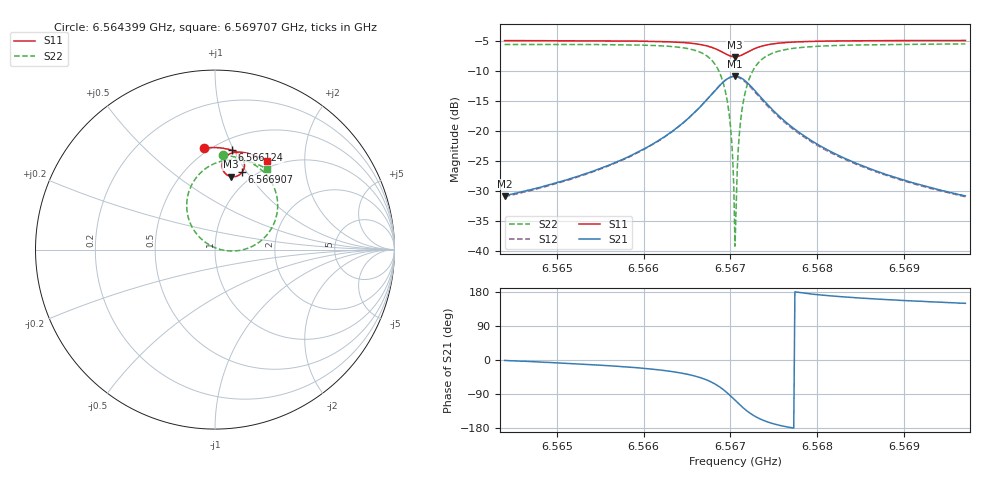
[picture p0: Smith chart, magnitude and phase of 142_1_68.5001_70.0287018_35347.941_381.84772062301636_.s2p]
#  HZ  S  RI  R  50.00
! Rohde & Schwarz Vector Network Analyzer
! Rohde-Schwarz,ZNB20-2Port,1311601062101988,3.16
! Created: UTC 3/20/2024, 4:54:54 PM
! freq[Hz]  re:S11  im:S11  re:S21  im:S21  re:S12  im:S12  re:S22  im:S22
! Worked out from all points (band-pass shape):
!   401 points, 6.564399 GHz to 6.569707 GHz, reference 50 ohm
!   highest |S21| = -10.83 dB at 6.567053 GHz (marker M1); lowest = -30.8 dB at 6.564399 GHz (marker M2)
!   |S21| within 3 dB of the highest: 6.566787 GHz to 6.567318 GHz (531.2 kHz wide, 0.00809 % of centre)
!   lowest |S11| = -7.6 dB at 6.567053 GHz (marker M3), VSWR 2.43, Z = 41.4 + j40.8 ohm
!   |S11| at or under -10 dB: nowhere
!   |S22| runs from -39.3 to -5.4 dB; largest |S21 - S12| = 0.014
!   S11 on the Smith chart (normalised r, x): 6.564399 GHz: 0.47, +0.79; 6.566124 GHz: 0.61, +0.98; 6.566907 GHz: 0.87, +0.95; 6.569707 GHz: 0.90, +1.32
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6.5643991e9  -0.0591 0.5663  0.0287 -0.000552  0.0282 -0.00103  0.0425 0.5266
6.5652882e9  0.0141 0.5679  0.0423 -0.0082  0.0414 -0.00869  0.1278 0.5123
6.5661243e9  0.0931 0.5533  0.072 -0.0332  0.0709 -0.034  0.2398 0.4592
6.5661773e9  0.0988 0.5512  0.0751 -0.0368  0.074 -0.0376  0.2492 0.452
6.5666949e9  0.1593 0.4966  0.1108 -0.1311  0.1079 -0.1338  0.3486 0.2683
6.5668143e9  0.1639 0.4631  0.0998 -0.1895  0.0947 -0.1931  0.3332 0.1566
6.5669072e9  0.1513 0.4308  0.0604 -0.2449  0.0517 -0.2479  0.2612 0.0535
6.566947e9  0.1387 0.4182  0.0305 -0.2655  0.02 -0.267  0.2057 0.017
6.5669868e9  0.1217 0.4091  -0.00734 -0.2787  -0.0194 -0.2781  0.1363 -0.00481
6.5670134e9  0.1084 0.4061  -0.0357 -0.2821  -0.0482 -0.2792  0.0849 -0.00767
6.5670266e9  0.1015 0.4057  -0.0504 -0.2816  -0.0629 -0.2776  0.059 -0.0053
6.5670399e9  0.0945 0.4059  -0.0649 -0.2797  -0.0774 -0.2745  0.0331 -0.000286
6.5670532e9  0.0876 0.4073  -0.0792 -0.2762  -0.0915 -0.2701  0.00794 0.00747
6.5670797e9  0.0744 0.4119  -0.1069 -0.2651  -0.1178 -0.2569  -0.0388 0.0304
6.5671063e9  0.0627 0.4192  -0.131 -0.2494  -0.1405 -0.2395  -0.079 0.0618
6.5671328e9  0.0533 0.4285  -0.1511 -0.23  -0.1586 -0.2189  -0.111 0.0987
6.5671859e9  0.0417 0.4504  -0.1769 -0.1864  -0.1808 -0.1745  -0.1489 0.1787
6.5672522e9  0.0396 0.477  -0.1868 -0.1342  -0.1867 -0.1236  -0.1565 0.2708
6.5675044e9  0.0776 0.5308  -0.143 -0.0282  -0.1398 -0.0239  -0.0556 0.4491
6.5679423e9  0.1406 0.5432  -0.0817 0.00882  -0.0799 0.00995  0.0825 0.5008
6.5688314e9  0.2244 0.5234  -0.0396 0.0152  -0.0388 0.0154  0.2132 0.4835
6.5697072e9  0.2895 0.4921  -0.0248 0.0145  -0.0242 0.0146  0.2912 0.4479
